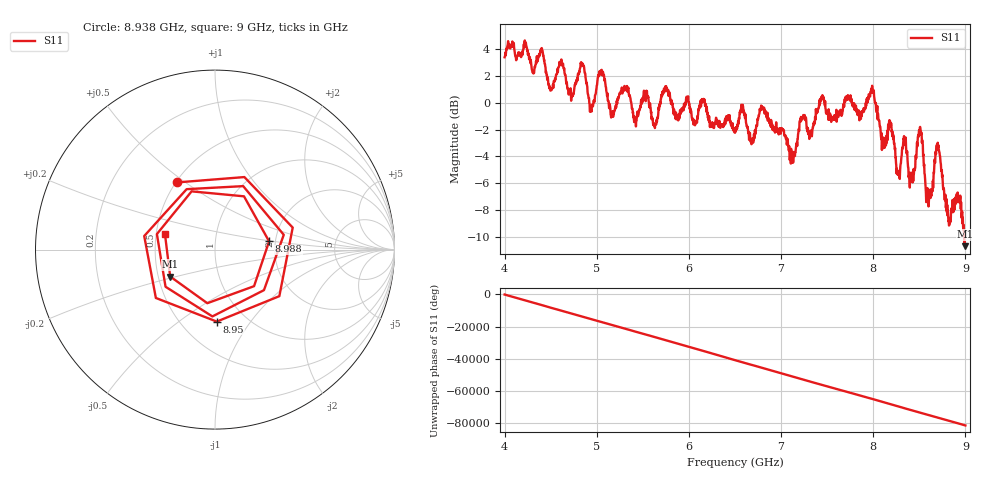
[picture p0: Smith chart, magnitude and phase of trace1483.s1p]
! Created with skrf 1.8.0 (http://scikit-rf.org).
# Hz S RI R 50.0
!freq ReS11 ImS11
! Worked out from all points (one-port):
!   1601 points, 4 GHz to 9 GHz, reference 50 ohm
!   lowest |S11| = -10.7 dB at 8.997 GHz (marker M1), VSWR 1.82, Z = 28.9 - j9.46 ohm
!   |S11| at or under -10 dB: 8.98658 GHz to end of sweep
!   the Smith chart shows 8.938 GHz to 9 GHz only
!   S11 on the Smith chart (normalised r, x): 8.938 GHz: 0.50, +0.46; 8.95 GHz: 0.74, -0.70; 8.988 GHz: 1.85, +0.19; 9 GHz: 0.56, +0.11
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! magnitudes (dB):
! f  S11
! 4 GHz  3.4
! 4.4 GHz  4.0
! 4.503 GHz  1.0
! 4.625 GHz  2.8
! 4.719 GHz  0.8
! 4.85 GHz  2.8
! 4.941 GHz  -0.6
! 5.044 GHz  2.2
! 5.159 GHz  -1.0
! 5.25 GHz  0.7
! 5.875 GHz  -0.9
! 6.5 GHz  -2.2
! 6.809 GHz  -0.5
! 7.125 GHz  -4.2
! 7.231 GHz  -1.1
! 7.75 GHz  0.2
! 7.991 GHz  1.1
! 8.106 GHz  -2.8
! 8.375 GHz  -4.6
! 8.509 GHz  -1.8
! 8.591 GHz  -7.4
! 8.7 GHz  -3.0
! 8.812 GHz  -8.3
! 8.938 GHz  -7.3
! 8.95 GHz  -7.9
! 8.988 GHz  -10.3
! 8.997 GHz  -10.7
! 9 GHz  -10.7
